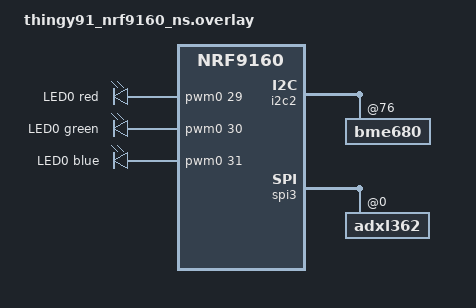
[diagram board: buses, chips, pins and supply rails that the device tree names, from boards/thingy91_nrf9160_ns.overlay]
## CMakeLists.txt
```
#
# Copyright (c) 2021 Nordic Semiconductor ASA
#
# SPDX-License-Identifier: LicenseRef-Nordic-5-Clause
#

cmake_minimum_required(VERSION 3.20.0)

find_package(Zephyr REQUIRED HINTS $ENV{ZEPHYR_BASE})
project(asset_tracker_v2)

# NORDIC SDK APP START
target_sources(app PRIVATE src/main.c)
# NORDIC SDK APP END

# Include source directory
target_include_directories(app PRIVATE src)
target_include_directories(app PRIVATE include/${BOARD}/)
zephyr_include_directories_ifdef(CONFIG_MEMFAULT app PRIVATE configuration/memfault)

# Application directories
add_subdirectory(src/modules)
add_subdirectory(src/events)

add_subdirectory_ifdef(CONFIG_CLOUD_MODULE src/cloud)
add_subdirectory_ifdef(CONFIG_SENSOR_MODULE src/ext_sensors)
add_subdirectory_ifdef(CONFIG_WATCHDOG_APPLICATION src/watchdog)
add_subdirectory_ifdef(CONFIG_LWM2M_CARRIER src/carrier_certs)
```

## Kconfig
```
#
# Copyright (c) 2021 Nordic Semiconductor ASA
#
# SPDX-License-Identifier: LicenseRef-Nordic-5-Clause
#

# Asset Tracker v2 requires UART_INTERRUPT_DRIVEN to be enabled when SERIAL is used in order to
# receive AT Commands.
config UART_INTERRUPT_DRIVEN
	default y if SERIAL

# Asset Tracker v2 requires the default logging mode as LOG_MODE_IMMEDIATE because
# a) LOG_MODE_DEFERRED does not print floating point numbers.
#	 See : https://github.com/zephyrproject-rtos/zephyr/issues/18351
# b) Using LOG2_MODE_DEFERRED results in missing logs in certain situations. Ref: NCSIDB-630
choice LOG_MODE
	default LOG_MODE_IMMEDIATE
endchoice

menu "Asset Tracker v2"

config ASSET_TRACKER_V2_APP_VERSION
	string "Asset Tracker application firmware version"
	default "0.0.0-development"

config ASSET_TRACKER_V2_APP_VERSION_MAX_LEN
	int "Maximum length of the application firmware version"
	default 150

rsource "src/modules/Kconfig.modules_common"
rsource "src/modules/Kconfig.app_module"
rsource "src/modules/Kconfig.cloud_module"
rsource "src/modules/Kconfig.data_module"
rsource "src/modules/Kconfig.gnss_module"
rsource "src/modules/Kconfig.modem_module"
rsource "src/modules/Kconfig.sensor_module"
rsource "src/modules/Kconfig.ui_module"
rsource "src/modules/Kconfig.util_module"
rsource "src/modules/Kconfig.led_module"
rsource "src/modules/Kconfig.debug_module"

rsource "src/cloud/cloud_codec/Kconfig"
rsource "src/watchdog/Kconfig"
rsource "src/events/Kconfig"

endmenu

menu "Zephyr Kernel"
source "Kconfig.zephyr"
endmenu

module = APPLICATION_MODULE
module-str = Application module
source "subsys/logging/Kconfig.template.log_config"
```

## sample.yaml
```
sample:
  name: Asset Tracker v2 Application
common:
  integration_platforms:
    - nrf9160dk_nrf9160_ns
    - thingy91_nrf9160_ns
tests:
  applications.asset_tracker_v2.nrf_cloud:
    build_only: true
    platform_allow: nrf9160dk_nrf9160_ns thingy91_nrf9160_ns
    tags: ci_build
  applications.asset_tracker_v2.nrf_cloud-pgps:
    build_only: true
    platform_allow: nrf9160dk_nrf9160_ns thingy91_nrf9160_ns
    extra_args: OVERLAY_CONFIG=overlay-pgps.conf
    tags: ci_build
  applications.asset_tracker_v2.aws:
    build_only: true
    platform_allow: nrf9160dk_nrf9160_ns thingy91_nrf9160_ns
    extra_configs:
      - CONFIG_AWS_IOT_BROKER_HOST_NAME="example-hostname.aws.com"
    extra_args: OVERLAY_CONFIG="overlay-aws.conf"
    tags: ci_build
  applications.asset_tracker_v2.aws-pgps:
    build_only: true
    platform_allow: nrf9160dk_nrf9160_ns thingy91_nrf9160_ns
    extra_configs:
      - CONFIG_AWS_IOT_BROKER_HOST_NAME="example-hostname.aws.com"
    extra_args: OVERLAY_CONFIG="overlay-aws.conf;overlay-pgps.conf"
    tags: ci_build
  applications.asset_tracker_v2.aws-all:
    build_only: true
    platform_allow: nrf9160dk_nrf9160_ns thingy91_nrf9160_ns
    extra_configs:
      - CONFIG_AWS_IOT_BROKER_HOST_NAME="example-hostname.aws.com"
      - CONFIG_MEMFAULT_NCS_PROJECT_KEY="PROJECTKEY"
    extra_args: OVERLAY_CONFIG="overlay-aws.conf;overlay-pgps.conf;overlay-debug.conf;overlay-memfault.conf"
    tags: ci_build
  applications.asset_tracker_v2.azure:
    build_only: true
    platform_allow: nrf9160dk_nrf9160_ns thingy91_nrf9160_ns
    extra_configs:
      - CONFIG_AZURE_IOT_HUB_DPS_HOSTNAME="global.azure-devices-provisioning.net"
      - CONFIG_AZURE_IOT_HUB_DPS_ID_SCOPE="IDSCOPE"
    extra_args: OVERLAY_CONFIG="overlay-azure.conf"
    tags: ci_build
  applications.asset_tracker_v2.debug:
    build_only: true
    build_on_all: true
    platform_allow: nrf9160dk_nrf9160_ns thingy91_nrf9160_ns
    extra_args: OVERLAY_CONFIG=overlay-debug.conf
    tags: ci_build
  applications.asset_tracker_v2.debug-memfault:
    build_only: true
    build_on_all: true
    platform_allow: nrf9160dk_nrf9160_ns thingy91_nrf9160_ns
    extra_configs:
      - CONFIG_MEMFAULT_NCS_PROJECT_KEY="PROJECTKEY"
    extra_args: OVERLAY_CONFIG="overlay-debug.conf;overlay-memfault.conf"
    tags: ci_build
  applications.asset_tracker_v2.memfault:
    build_only: true
    build_on_all: true
    platform_allow: nrf9160dk_nrf9160_ns thingy91_nrf9160_ns
    extra_configs:
      - CONFIG_MEMFAULT_NCS_PROJECT_KEY="PROJECTKEY"
    extra_args: OVERLAY_CONFIG=overlay-memfault.conf
    tags: ci_build
  applications.asset_tracker_v2.low-power:
    build_only: true
    build_on_all: true
    platform_allow: nrf9160dk_nrf9160_ns thingy91_nrf9160_ns
    extra_args: OVERLAY_CONFIG=overlay-low-power.conf
    tags: ci_build
  applications.asset_tracker_v2.carrier:
    build_only: true
    build_on_all: true
    platform_allow: nrf9160dk_nrf9160_ns thingy91_nrf9160_ns
    extra_args: OVERLAY_CONFIG=overlay-carrier.conf
    tags: ci_build
```

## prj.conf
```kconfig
#
# Copyright (c) 2021 Nordic Semiconductor ASA
#
# SPDX-License-Identifier: LicenseRef-Nordic-5-Clause
#

# General config
CONFIG_NEWLIB_LIBC=y
CONFIG_NEWLIB_LIBC_FLOAT_PRINTF=y
CONFIG_ASSERT=y
CONFIG_REBOOT=y
CONFIG_RESET_ON_FATAL_ERROR=n
CONFIG_FPU=y

# Heap and stacks
CONFIG_HEAP_MEM_POOL_SIZE=32768
CONFIG_MAIN_STACK_SIZE=1280
CONFIG_SYSTEM_WORKQUEUE_STACK_SIZE=4096
CONFIG_HW_STACK_PROTECTION=y
# Increase AT monitor heap size to be able to fit both neighbor cell measurement
# and other AT notifications that may come in rapid succession.
CONFIG_AT_MONITOR_HEAP_SIZE=1024

# Logging
CONFIG_LOG=y

# DK - Used for buttons and LEDs in UI module.
CONFIG_DK_LIBRARY_INVERT_LEDS=n

# nRF modem library
CONFIG_NRF_MODEM_LIB=y

# AT Host library - Used to send AT commands directy from an UART terminal and to allow
#		    integration with nRF Connect for Desktop LTE Link monitor application.
CONFIG_AT_HOST_LIBRARY=y

# Network
CONFIG_NETWORKING=y
CONFIG_NET_NATIVE=n
CONFIG_NET_SOCKETS=y
CONFIG_NET_SOCKETS_OFFLOAD=y

# LTE link control

CONFIG_LTE_LINK_CONTROL=y
CONFIG_LTE_AUTO_INIT_AND_CONNECT=n
CONFIG_LTE_NETWORK_DEFAULT=n
CONFIG_LTE_NETWORK_MODE_NBIOT_GPS=y
CONFIG_LTE_MODE_PREFERENCE_NBIOT=y
CONFIG_LTE_LOCK_PLMN=y
CONFIG_LTE_LOCK_BANDS=y
CONFIG_LTE_LOCK_BAND_MASK="10000000000000000000000100"
CONFIG_LTE_LOCK_PLMN_STRING="74801"
## Power saving timers.
### 320 hours PSM.
CONFIG_LTE_PSM_REQ_RPTAU="11000001"
### 20 seconds active time.
CONFIG_LTE_PSM_REQ_RAT="00001010"

# Modem info library to obtain information about network and device
CONFIG_MODEM_INFO=y

# Settings - Used to store real-time device configuration to flash.
CONFIG_SETTINGS=y
CONFIG_SETTINGS_FCB=y
CONFIG_FCB=y

# FOTA
CONFIG_FOTA_DOWNLOAD=y
CONFIG_DFU_TARGET=y
CONFIG_DOWNLOAD_CLIENT=y
CONFIG_DOWNLOAD_CLIENT_HTTP_FRAG_SIZE_1024=y
CONFIG_DOWNLOAD_CLIENT_STACK_SIZE=4096
CONFIG_DOWNLOAD_CLIENT_BUF_SIZE=2300
CONFIG_DOWNLOAD_CLIENT_MAX_HOSTNAME_SIZE=128

# Flash - Used in FOTA, settings and storage for P-GPS.
CONFIG_FLASH=y
CONFIG_FLASH_PAGE_LAYOUT=y
CONFIG_FLASH_MAP=y
CONFIG_STREAM_FLASH=y
CONFIG_MPU_ALLOW_FLASH_WRITE=y

# MCUBOOT
CONFIG_BOOTLOADER_MCUBOOT=y
CONFIG_IMG_MANAGER=y
CONFIG_MCUBOOT_IMG_MANAGER=y
CONFIG_IMG_ERASE_PROGRESSIVELY=y

# Watchdog
CONFIG_WATCHDOG_APPLICATION=y

# Event Manager
CONFIG_EVENT_MANAGER=y
CONFIG_EVENT_MANAGER_EVENT_LOG_BUF_LEN=0
CONFIG_EVENT_MANAGER_LOG_EVENT_TYPE=n

# cJSON - Used in cloud data encoding.
CONFIG_CJSON_LIB=y

# CAF - Common Application Framework
CONFIG_CAF=y
CONFIG_LED=y
CONFIG_CAF_LEDS=y
CONFIG_CAF_INIT_LOG_LED_READY_EVENTS=n
CONFIG_CAF_INIT_LOG_LED_EVENTS=n
CONFIG_CAF_INIT_LOG_MODULE_STATE_EVENTS=n

# Default cloud transport service
CONFIG_NRF_CLOUD_MQTT=y

# PDN control
CONFIG_PDN_SYS_INIT=n
CONFIG_PDN=y
CONFIG_PDN_DEFAULTS_OVERRIDE=y
CONFIG_PDN_LEGACY_PCO=y
CONFIG_PDN_DEFAULT_FAM_IPV6=y
CONFIG_PDN_DEFAULT_APN="internet.iot"
```

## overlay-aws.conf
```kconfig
#
# Copyright (c) 2021 Nordic Semiconductor ASA
#
# SPDX-License-Identifier: LicenseRef-Nordic-5-Clause
#

CONFIG_AWS_IOT=y
CONFIG_AWS_IOT_TOPIC_UPDATE_DELTA_SUBSCRIBE=y
CONFIG_AWS_IOT_TOPIC_GET_REJECTED_SUBSCRIBE=y
CONFIG_AWS_IOT_AUTO_DEVICE_SHADOW_REQUEST=y
CONFIG_AWS_IOT_MQTT_RX_TX_BUFFER_LEN=2048
CONFIG_AWS_IOT_APP_SUBSCRIPTION_LIST_COUNT=3
CONFIG_AWS_IOT_CLIENT_ID_APP=y
CONFIG_AWS_FOTA=y

# Options that must be configured in order to establish a connection.
CONFIG_AWS_IOT_SEC_TAG=42
CONFIG_AWS_IOT_BROKER_HOST_NAME="a1gs1rvc65ppoo-ats.iot.us-east-1.amazonaws.com"
CONFIG_AWS_IOT_CLIENT_ID_STATIC="352656100586596"
CONFIG_AWS_IOT_CLIENT_ID_MAX_LEN=40
# MQTT Transport library
# Maximum specified MQTT keepalive timeout for AWS IoT is 1200 seconds.
CONFIG_MQTT_KEEPALIVE=1200

# PDN control
CONFIG_PDN_SYS_INIT=n
CONFIG_PDN=y
CONFIG_PDN_DEFAULTS_OVERRIDE=y
CONFIG_PDN_LEGACY_PCO=y
CONFIG_PDN_DEFAULT_FAM_IPV6=y
CONFIG_PDN_DEFAULT_APN="internet.iot"

# LED control
CONFIG_LED=n

CONFIG_CAF_LEDS_PWM=n
CONFIG_CAF_LEDS_GPIO=n
CONFIG_CAF_LED_EVENTS=n
CONFIG_CAF_LEDS=n

CONFIG_LED_CONTROL=n

# SIM control
CONFIG_BOARD_SELECT_SIM_EXTERNAL=y

# Configuration related to external sensors.
CONFIG_EXTERNAL_SENSORS=y
CONFIG_EXTERNAL_SENSORS_LOG_LEVEL_DBG=y
#CONFIG_EXTERNAL_SENSORS_ACTIVITY_DETECTION_AUTO=y
CONFIG_SENSOR=y
CONFIG_I2C=y

# LIS2DH - Accelerometer
CONFIG_LIS2DH=y
CONFIG_LIS2DH_TRIGGER_GLOBAL_THREAD=y
CONFIG_LIS2DH_ACCEL_RANGE_8G=y
CONFIG_LIS2DH_OPER_MODE_NORMAL=y
CONFIG_LIS2DH_ODR_2=y
```

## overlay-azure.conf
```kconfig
#
# Copyright (c) 2021 Nordic Semiconductor ASA
#
# SPDX-License-Identifier: LicenseRef-Nordic-5-Clause
#

CONFIG_AZURE_IOT_HUB=y
CONFIG_AZURE_IOT_HUB_DPS=y
CONFIG_AZURE_IOT_HUB_AUTO_DEVICE_TWIN_REQUEST=y
CONFIG_AZURE_IOT_HUB_DEVICE_ID_APP=y
CONFIG_AZURE_IOT_HUB_MQTT_RX_TX_BUFFER_LEN=2048
CONFIG_AZURE_IOT_HUB_STACK_SIZE=4096
CONFIG_AZURE_FOTA=y
CONFIG_AZURE_FOTA_TLS=y

# Azure IoT Hub options that must be configured in order to establish a connection.
CONFIG_AZURE_IOT_HUB_DPS_HOSTNAME="global.azure-devices-provisioning.net"
CONFIG_AZURE_IOT_HUB_DPS_ID_SCOPE=""
CONFIG_AZURE_IOT_HUB_SEC_TAG=11
CONFIG_AZURE_FOTA_SEC_TAG=11

# MQTT Transport library
# Maximum specified MQTT keepalive timeout for Azure IoT Hub is 1177 seconds.
CONFIG_MQTT_KEEPALIVE=1177
```

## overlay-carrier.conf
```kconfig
#
# Copyright (c) 2021 Nordic Semiconductor ASA
#
# SPDX-License-Identifier: LicenseRef-Nordic-5-Clause
#

CONFIG_LWM2M_CARRIER=y

# LwM2M carrier is only compiled for hard-float
CONFIG_FP_HARDABI=y

# The carrier library initializes the modem library
CONFIG_NRF_MODEM_LIB_SYS_INIT=n

# SMS library
CONFIG_SMS=y

# PDN management support
CONFIG_PDN=y
CONFIG_PDN_CONTEXTS_MAX=3

# AT Monitor is used by PDN library
CONFIG_AT_MONITOR=y

# Download client for DFU
CONFIG_DOWNLOAD_CLIENT_MAX_FILENAME_SIZE=230

# Modem info
CONFIG_MODEM_INFO_BUFFER_SIZE=512

# Disable AT host library as it's incompatible with the carrier library's
# requirement to initialize the modem library
CONFIG_AT_HOST_LIBRARY=n

# Credential management
CONFIG_MODEM_KEY_MGMT=y

# Non-volatile Storage
CONFIG_NVS=y
CONFIG_MPU_ALLOW_FLASH_WRITE=y
```

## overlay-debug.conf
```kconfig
#
# Copyright (c) 2021 Nordic Semiconductor ASA
#
# SPDX-License-Identifier: LicenseRef-Nordic-5-Clause
#

# Forces a maximal log level for all modules.
# Modules saturates their specified level if it is greater than this option,
# otherwise they use the level specified by this option instead of their default
# or whatever was manually set. Levels are:
#
# 0 OFF, logging is turned off
# 1 ERROR, maximal level set to LOG_LEVEL_ERR
# 2 WARNING, maximal level set to LOG_LEVEL_WRN
# 3 INFO, maximal level set to LOG_LEVEL_INFO
# 4 DEBUG, maximal level set to LOG_LEVEL_DBG
CONFIG_LOG_MAX_LEVEL=4

# Module debug configurations.
CONFIG_APPLICATION_MODULE_LOG_LEVEL_DBG=y
CONFIG_CLOUD_MODULE_LOG_LEVEL_DBG=y
CONFIG_DATA_MODULE_LOG_LEVEL_DBG=y
CONFIG_GNSS_MODULE_LOG_LEVEL_DBG=y
CONFIG_MODEM_MODULE_LOG_LEVEL_DBG=y
CONFIG_SENSOR_MODULE_LOG_LEVEL_DBG=y
CONFIG_UI_MODULE_LOG_LEVEL_DBG=y
CONFIG_UTIL_MODULE_LOG_LEVEL_DBG=y
CONFIG_DEBUG_MODULE_LOG_LEVEL_DBG=y

# Cloud integration layer debug logging
CONFIG_CLOUD_INTEGRATION_LOG_LEVEL_DBG=y

# Application Watchdog debug logging
CONFIG_WATCHDOG_LOG_LEVEL_DBG=y

# Cloud codec debug logging
CONFIG_CLOUD_CODEC_LOG_LEVEL_DBG=y

# Date time
CONFIG_DATE_TIME_LOG_LEVEL_DBG=y

# Settings
CONFIG_SETTINGS_LOG_LEVEL_DBG=y

# Flash
CONFIG_STREAM_FLASH_LOG_LEVEL_DBG=y

# Debug module
CONFIG_DEBUG_MODULE=y

# nRF Cloud A/P-GPS
CONFIG_NRF_CLOUD_GPS_LOG_LEVEL_DBG=y
```

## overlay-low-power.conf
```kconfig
#
# Copyright (c) 2021 Nordic Semiconductor ASA
#
# SPDX-License-Identifier: LicenseRef-Nordic-5-Clause
#

# This file contains configurations to achieve the lowest power consumption by
# disabling LEDs and logging over UART.

# Disable serial interface.
CONFIG_SERIAL=n

# Disable LEDs
CONFIG_LED_CONTROL=n

# Disable UART console.
CONFIG_UART_CONSOLE=n

# Disable event logging.
CONFIG_EVENT_MANAGER_SHOW_EVENTS=n

# Disable AT host library.
CONFIG_AT_HOST_LIBRARY=n

# Disable logging
CONFIG_LOG=n
```

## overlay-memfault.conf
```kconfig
#
# Copyright (c) 2021 Nordic Semiconductor ASA
#
# SPDX-License-Identifier: LicenseRef-Nordic-5-Clause
#

CONFIG_MEMFAULT=y
CONFIG_MEMFAULT_NCS_PROJECT_KEY=""
CONFIG_MEMFAULT_NCS_LTE_METRICS=y
CONFIG_MEMFAULT_NCS_STACK_METRICS=y
CONFIG_MEMFAULT_LOGGING_ENABLE=y

CONFIG_MEMFAULT_ROOT_CERT_STORAGE_NRF9160_MODEM=y
CONFIG_MODEM_KEY_MGMT=y

CONFIG_MEMFAULT_NCS_INTERNAL_FLASH_BACKED_COREDUMP=y
CONFIG_MEMFAULT_COREDUMP_COLLECT_BSS_REGIONS=y
CONFIG_PM_PARTITION_SIZE_MEMFAULT_STORAGE=0x10000

# Increase the stack size of the system workqueue in case Memfault is enabled. If the debug module
# is configured to forward Memfault data via an external transport the data will be carried on
# the system workqueue using event manager events.
CONFIG_SYSTEM_WORKQUEUE_STACK_SIZE=3584
CONFIG_DEBUG_MODULE=y
```

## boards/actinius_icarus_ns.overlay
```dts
/*
 * Copyright (c) 2021 Nordic Semiconductor ASA
 *
 * SPDX-License-Identifier: LicenseRef-Nordic-5-Clause
 */

/ {
	aliases {
		accelerometer = &lis2dh12;
	};

};

&i2c2 {

	lis2dh12: lis2dh12-accel@19 {};
};
```

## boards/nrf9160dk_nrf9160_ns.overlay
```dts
/	{
	/delete-node/ leds;

	leds0 {
		compatible = "gpio-leds";
		status = "okay";
		label = "LED0";
		led0: led_0 {
			status = "okay";
			gpios = <&gpio0 2 0>;
			label = "Green LED 1";
		};
	};

	leds1 {
		compatible = "gpio-leds";
		status = "okay";
		label = "LED1";
		led1: led_1 {
			gpios = <&gpio0 3 0>;
			label = "Green LED 2";
		};
	};

	leds2 {
		compatible = "gpio-leds";
		status = "okay";
		label = "LED2";
		led2: led_2 {
			gpios = <&gpio0 4 0>;
			label = "Green LED 3";
		};
	};

	leds3 {
		compatible = "gpio-leds";
		status = "okay";
		label = "LED3";
		led3: led_3 {
			gpios = <&gpio0 5 0>;
			label = "Green LED 4";
		};
	};
};
```

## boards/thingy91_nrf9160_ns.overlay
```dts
/*
 * Copyright (c) 2021 Nordic Semiconductor ASA
 *
 * SPDX-License-Identifier: LicenseRef-Nordic-5-Clause
 */

/ {
	aliases {
		temp-sensor = &bme680;
		humidity-sensor = &bme680;
		pressure-sensor = &bme680;
		accelerometer = &adxl362;
	};
	pwmleds0 {
		compatible = "pwm-leds";
		status = "okay";
		pwm_led0: led_pwm_0 {
			status = "okay";
			pwms = <&pwm0 29>;
			label = "LED0 red";
		};
		pwm_led1: led_pwm_1 {
			status = "okay";
			pwms = <&pwm0 30>;
			label = "LED0 green";
		};
		pwm_led2: led_pwm_2 {
			status = "okay";
			pwms = <&pwm0 31>;
			label = "LED0 blue";
		};
	};
};

&i2c2 {
	bme680: bme680@76 {};
};

&spi3 {
	adxl362: adxl362@0 {};
};
```

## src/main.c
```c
/*
 * Copyright (c) 2021 Nordic Semiconductor ASA
 *
 * SPDX-License-Identifier: LicenseRef-Nordic-5-Clause
 */

#include <zephyr.h>
#include <stdio.h>
#include <string.h>
#include <stdlib.h>
#include <event_manager.h>
#include <modem/nrf_modem_lib.h>
#include <sys/reboot.h>

#if defined(CONFIG_NRF_CLOUD_AGPS) || defined(CONFIG_NRF_CLOUD_PGPS)
#include <net/nrf_cloud_agps.h>
#endif

/* Module name is used by the event manager macros in this file */
#define MODULE main
#include <caf/events/module_state_event.h>

#include "modules_common.h"
#include "events/app_module_event.h"
#include "events/cloud_module_event.h"
#include "events/data_module_event.h"
#include "events/sensor_module_event.h"
#include "events/ui_module_event.h"
#include "events/util_module_event.h"
#include "events/modem_module_event.h"
#include "events/led_state_event.h"

#include <logging/log.h>
#include <logging/log_ctrl.h>

LOG_MODULE_REGISTER(MODULE, CONFIG_APPLICATION_MODULE_LOG_LEVEL);

/* Message structure. Events from other modules are converted to messages
 * in the event manager handler, and then queued up in the message queue
 * for processing in the main thread.
 */
struct app_msg_data
{
	union
	{
		struct cloud_module_event cloud;
		struct ui_module_event ui;
		struct sensor_module_event sensor;
		struct data_module_event data;
		struct util_module_event util;
		struct modem_module_event modem;
		struct app_module_event app;
	} module;
};

/* Application module super states. */
static enum state_type {
	STATE_INIT,
	STATE_RUNNING,
	STATE_SHUTDOWN
} state;

/* Application sub states. The application can be in either active or passive
 * mode.
 *
 * Active mode: Sensor data and GNSS position is acquired at a configured
 *		interval and sent to cloud.
 *
 * Passive mode: Sensor data and GNSS position is acquired when movement is
 *		 detected, or after the configured movement timeout occurs.
 */
static enum sub_state_type {
	SUB_STATE_ACTIVE_MODE,
	SUB_STATE_PASSIVE_MODE,
} sub_state;

/* Internal copy of the device configuration. */
static struct cloud_data_cfg app_cfg;

/* Timer callback used to signal when timeout has occurred both in active
 * and passive mode.
 */
static void data_sample_timer_handler(struct k_timer *timer);

/* Timer callback used to signal when the application is expecting movement to trigger the next
 * sample request.
 */
static void waiting_for_movement_handler(struct k_timer *timer);

/* Application module message queue. */
#define APP_QUEUE_ENTRY_COUNT 10
#define APP_QUEUE_BYTE_ALIGNMENT 4

K_MSGQ_DEFINE(msgq_app, sizeof(struct app_msg_data), APP_QUEUE_ENTRY_COUNT,
			  APP_QUEUE_BYTE_ALIGNMENT);

/* Data sample timer used in active mode. */
K_TIMER_DEFINE(data_sample_timer, data_sample_timer_handler, NULL);

/* Movement timer used to detect movement timeouts in passive mode. */
K_TIMER_DEFINE(movement_timeout_timer, data_sample_timer_handler, NULL);

/* Movement resolution timer decides the period after movement that consecutive
 * movements are ignored and do not cause data collection. This is used to
 * lower power consumption by limiting how often GNSS search is performed and
 * data is sent on air.
 */
K_TIMER_DEFINE(movement_resolution_timer, waiting_for_movement_handler, NULL);

/* Module data structure to hold information of the application module, which
 * opens up for using convenience functions available for modules.
 */
static struct module_data self = {
	.name = "app",
	.msg_q = &msgq_app,
	.supports_shutdown = true,
};

/* Convenience functions used in internal state handling. */
static char *state2str(enum state_type new_state)
{
	switch (new_state)
	{
	case STATE_INIT:
		return "STATE_INIT";
	case STATE_RUNNING:
		return "STATE_RUNNING";
	case STATE_SHUTDOWN:
		return "STATE_SHUTDOWN";
	default:
		return "Unknown";
	}
}

static char *sub_state2str(enum sub_state_type new_state)
{
	switch (new_state)
	{
	case SUB_STATE_ACTIVE_MODE:
		return "SUB_STATE_ACTIVE_MODE";
	case SUB_STATE_PASSIVE_MODE:
		return "SUB_STATE_PASSIVE_MODE";
	default:
		return "Unknown";
	}
}

static void state_set(enum state_type new_state)
{
	if (new_state == state)
	{
		LOG_DBG("State: %s", state2str(state));
		return;
	}

	LOG_DBG("State transition %s --> %s",
			state2str(state),
			state2str(new_state));

	state = new_state;
}

static void sub_state_set(enum sub_state_type new_state)
{
	if (new_state == sub_state)
	{
		LOG_DBG("Sub state: %s", sub_state2str(sub_state));
		return;
	}

	LOG_DBG("Sub state transition %s --> %s",
			sub_state2str(sub_state),
			sub_state2str(new_state));

	sub_state = new_state;
}

/* Check the return code from nRF modem library initializaton to ensure that
 * the modem is rebooted if a modem firmware update is ready to be applied or
 * an error condition occurred during firmware update or library initialization.
 */
static void handle_nrf_modem_lib_init_ret(void)
{
	int ret = nrf_modem_lib_get_init_ret();

	/* Handle return values relating to modem firmware update */
	switch (ret)
	{
	case 0:
		/* Initialization successful, no action required. */
		return;
	case MODEM_DFU_RESULT_OK:
		LOG_INF("MODEM UPDATE OK. Will run new firmware after reboot");
		break;
	case MODEM_DFU_RESULT_UUID_ERROR:
	case MODEM_DFU_RESULT_AUTH_ERROR:
		LOG_ERR("MODEM UPDATE ERROR %d. Will run old firmware", ret);
		break;
	case MODEM_DFU_RESULT_HARDWARE_ERROR:
	case MODEM_DFU_RESULT_INTERNAL_ERROR:
		LOG_ERR("MODEM UPDATE FATAL ERROR %d. Modem failure", ret);
		break;
	default:
		/* All non-zero return codes other than DFU result codes are
		 * considered irrecoverable and a reboot is needed.
		 */
		LOG_ERR("nRF modem lib initialization failed, error: %d", ret);
		break;
	}

	LOG_WRN("Rebooting...");
	LOG_PANIC();
	sys_reboot(SYS_REBOOT_COLD);
}

/* Event manager handler. Puts event data into messages and adds them to the
 * application message queue.
 */
static bool event_handler(const struct event_header *eh)
{
	struct app_msg_data msg = {0};
	bool enqueue_msg = false;

	if (is_cloud_module_event(eh))
	{
		struct cloud_module_event *evt = cast_cloud_module_event(eh);

		msg.module.cloud = *evt;
		enqueue_msg = true;
	}

	if (is_app_module_event(eh))
	{
		struct app_module_event *evt = cast_app_module_event(eh);

		msg.module.app = *evt;
		enqueue_msg = true;
	}

	if (is_data_module_event(eh))
	{
		struct data_module_event *evt = cast_data_module_event(eh);

		msg.module.data = *evt;
		enqueue_msg = true;
	}

	if (is_sensor_module_event(eh))
	{
		struct sensor_module_event *evt = cast_sensor_module_event(eh);

		msg.module.sensor = *evt;
		enqueue_msg = true;
	}

	if (is_util_module_event(eh))
	{
		struct util_module_event *evt = cast_util_module_event(eh);

		msg.module.util = *evt;
		enqueue_msg = true;
	}

	if (is_modem_module_event(eh))
	{
		struct modem_module_event *evt = cast_modem_module_event(eh);

		msg.module.modem = *evt;
		enqueue_msg = true;
	}

	if (is_ui_module_event(eh))
	{
		struct ui_module_event *evt = cast_ui_module_event(eh);

		msg.module.ui = *evt;
		enqueue_msg = true;
	}

	if (enqueue_msg)
	{
		int err = module_enqueue_msg(&self, &msg);

		if (err)
		{
			LOG_ERR("Message could not be enqueued");
			SEND_ERROR(app, APP_EVT_ERROR, err);
		}
	}

	return false;
}

static bool is_agps_processed(void)
{
#if defined(CONFIG_NRF_CLOUD_AGPS) || defined(CONFIG_NRF_CLOUD_PGPS)
	struct nrf_modem_gnss_agps_data_frame processed;

	nrf_cloud_agps_processed(&processed);

	if (!processed.sv_mask_ephe)
	{
		return false;
	}

#endif /* CONFIG_NRF_CLOUD_AGPS || CONFIG_NRF_CLOUD_PGPS */

	return true;
}

static bool request_gnss(void)
{
	uint32_t uptime_current_ms = k_uptime_get();
	int agps_wait_threshold_ms = CONFIG_APP_REQUEST_GNSS_WAIT_FOR_AGPS_THRESHOLD_SEC *
								 MSEC_PER_SEC;

	if (!IS_ENABLED(CONFIG_APP_REQUEST_GNSS_WAIT_FOR_AGPS))
	{
		return true;
	}
	else if (agps_wait_threshold_ms < 0)
	{
		/* If CONFIG_APP_REQUEST_GNSS_WAIT_FOR_AGPS_THRESHOLD_SEC is set to -1,
		 * we need to notify the data module that the application module is awaiting
		 * A-GPS data in order to request GNSS. If not, GNSS will never be
		 * requested if the initial A-GPS data request fails.
		 */
		if (is_agps_processed())
		{
			return true;
		}

		SEND_EVENT(app, APP_EVT_AGPS_NEEDED);
		return false;
	}
	else if ((agps_wait_threshold_ms < uptime_current_ms) || is_agps_processed())
	{
		return true;
	}

	return false;
}

static void data_sample_timer_handler(struct k_timer *timer)
{
	ARG_UNUSED(timer);
	SEND_EVENT(app, APP_EVT_DATA_GET_ALL);
}

static void waiting_for_movement_handler(struct k_timer *timer)
{
	ARG_UNUSED(timer);
	SEND_EVENT(app, APP_EVT_ACTIVITY_DETECTION_ENABLE);
}

/* Static module functions. */
static void passive_mode_timers_start_all(void)
{
	LOG_DBG("Device mode: Passive");
	LOG_DBG("Start movement timeout: %d seconds interval", app_cfg.movement_timeout);

	LOG_DBG("%d seconds until movement can trigger a new data sample/publication",
			app_cfg.movement_resolution);

	k_timer_start(&movement_resolution_timer,
				  K_SECONDS(app_cfg.movement_resolution),
				  K_SECONDS(0));

	k_timer_start(&movement_timeout_timer,
				  K_SECONDS(app_cfg.movement_timeout),
				  K_SECONDS(app_cfg.movement_timeout));

	k_timer_stop(&data_sample_timer);
}

static void active_mode_timers_start_all(void)
{
	LOG_DBG("Device mode: Active");
	LOG_DBG("Start data sample timer: %d seconds interval", app_cfg.active_wait_timeout);

	k_timer_start(&data_sample_timer,
				  K_SECONDS(app_cfg.active_wait_timeout),
				  K_SECONDS(app_cfg.active_wait_timeout));

	k_timer_stop(&movement_resolution_timer);
	k_timer_stop(&movement_timeout_timer);

	SEND_EVENT(app, APP_EVT_ACTIVITY_DETECTION_DISABLE);
	// SEND_EVENT(app, APP_EVT_ACTIVITY_DETECTION_ENABLE);
}

static void data_get(void)
{
	static bool first = true;
	struct app_module_event *app_module_event = new_app_module_event();
	size_t count = 0;

	/* Set a low sample timeout. If GNSS is requested, the sample timeout will be increased to
	 * accommodate the GNSS timeout.
	 */
	app_module_event->timeout = 1;

	/* Specify which data that is to be included in the transmission. */
	app_module_event->data_list[count++] = APP_DATA_MODEM_DYNAMIC;
	app_module_event->data_list[count++] = APP_DATA_BATTERY;
	// app_module_event->data_list[count++] = APP_DATA_ENVIRONMENTAL;
	app_module_event->data_list[count++] = APP_DATA_MOVEMENT;
	// if (IS_ENABLED(CONFIG_APP_REQUEST_NEIGHBOR_CELLS_DATA) && !app_cfg.no_data.neighbor_cell) {
	//	app_module_event->data_list[count++] = APP_DATA_NEIGHBOR_CELLS;
	// }

	/* The reason for having at least 75 seconds sample timeout when
	 * requesting GNSS data is that the GNSS module on the nRF9160 modem will always
	 * search for at least 60 seconds for the first position fix after a reboot. This limit
	 * is enforced in order to give the modem time to perform scheduled downloads of
	 * A-GPS data from the GNSS satellites.
	 *
	 * However, if A-GPS data has been downloaded via the cloud connection and processed
	 * before the initial GNSS search, the actual GNSS timeout set by the application is used.
	 *
	 * Processing A-GPS before requesting GNSS data is enabled by default,
	 * and the time that the application will wait for A-GPS data before including GNSS
	 * in sample requests can be adjusted via the
	 * CONFIG_APP_REQUEST_GNSS_WAIT_FOR_AGPS_THRESHOLD_SEC Kconfig option. If this option is
	 * set to -1, the application module will not request GNSS unless A-GPS data has been
	 * processed.
	 *
	 * If A-GPS data has been processed the sample timeout can be ignored as the
	 * GNSS will most likely time out before the sample timeout expires.
	 *
	 * When GNSS is requested, set the sample timeout to (GNSS timeout + 15 seconds)
	 * to let the GNSS module finish ongoing searches before data is sent to cloud.
	 */

	if (first)
	{
		if (IS_ENABLED(CONFIG_APP_REQUEST_GNSS_ON_INITIAL_SAMPLING) && request_gnss() &&
			!app_cfg.no_data.gnss)
		{
			app_module_event->data_list[count++] = APP_DATA_GNSS;
			app_module_event->timeout = MAX(app_cfg.gnss_timeout + 15, 75);
		}

		app_module_event->data_list[count++] = APP_DATA_MODEM_STATIC;
		first = false;
	}
	else
	{
		if (request_gnss() && !app_cfg.no_data.gnss)
		{
			app_module_event->data_list[count++] = APP_DATA_GNSS;
			app_module_event->timeout = MAX(app_cfg.gnss_timeout + 15, 75);
		}
	}

	/* Set list count to number of data types passed in app_module_event. */
	app_module_event->count = count;
	app_module_event->type = APP_EVT_DATA_GET;

	EVENT_SUBMIT(app_module_event);
}

/* Message handler for STATE_INIT. */
static void on_state_init(struct app_msg_data *msg)
{
	if (IS_EVENT(msg, data, DATA_EVT_CONFIG_INIT))
	{
		/* Keep a copy of the new configuration. */
		app_cfg = msg->module.data.data.cfg;

		if (app_cfg.active_mode)
		{
			active_mode_timers_start_all();
		}
		else
		{
			passive_mode_timers_start_all();
		}

		state_set(STATE_RUNNING);
		sub_state_set(app_cfg.active_mode ? SUB_STATE_ACTIVE_MODE : SUB_STATE_PASSIVE_MODE);
	}
}

/* Message handler for STATE_RUNNING. */
static void on_state_running(struct app_msg_data *msg)
{
	if (IS_EVENT(msg, cloud, CLOUD_EVT_CONNECTED))
	{
		data_get();
	}

	if (IS_EVENT(msg, app, APP_EVT_DATA_GET_ALL))
	{
		data_get();
	}
}

/* Message handler for SUB_STATE_PASSIVE_MODE. */
void on_sub_state_passive(struct app_msg_data *msg)
{
	if (IS_EVENT(msg, data, DATA_EVT_CONFIG_READY))
	{
		/* Keep a copy of the new configuration. */
		app_cfg = msg->module.data.data.cfg;

		if (app_cfg.active_mode)
		{
			active_mode_timers_start_all();
			sub_state_set(SUB_STATE_ACTIVE_MODE);
			return;
		}

		passive_mode_timers_start_all();
	}

	if ((IS_EVENT(msg, ui, UI_EVT_BUTTON_DATA_READY)) ||
		(IS_EVENT(msg, sensor, SENSOR_EVT_MOVEMENT_DATA_READY)))
	{

		if (IS_EVENT(msg, ui, UI_EVT_BUTTON_DATA_READY) &&
			msg->module.ui.data.ui.button_number != 2)
		{
			return;
		}

		/* Trigger a sample request if button 2 has been pushed on the DK or activity has
		 * been detected. The data request can only be triggered if the movement
		 * resolution timer has timed out.
		 */

		if (k_timer_remaining_get(&movement_resolution_timer) == 0)
		{
			data_sample_timer_handler(NULL);
			passive_mode_timers_start_all();
		}
	}
}

/* Message handler for SUB_STATE_ACTIVE_MODE. */
static void on_sub_state_active(struct app_msg_data *msg)
{
	if (IS_EVENT(msg, data, DATA_EVT_CONFIG_READY))
	{
		/* Keep a copy of the new configuration. */
		app_cfg = msg->module.data.data.cfg;

		if (!app_cfg.active_mode)
		{
			passive_mode_timers_start_all();
			sub_state_set(SUB_STATE_PASSIVE_MODE);
			return;
		}

		active_mode_timers_start_all();
	}
}

/* Message handler for all states. */
static void on_all_events(struct app_msg_data *msg)
{
	if (IS_EVENT(msg, util, UTIL_EVT_SHUTDOWN_REQUEST))
	{
		k_timer_stop(&data_sample_timer);
		k_timer_stop(&movement_timeout_timer);
		k_timer_stop(&movement_resolution_timer);

		SEND_SHUTDOWN_ACK(app, APP_EVT_SHUTDOWN_READY, self.id);
		state_set(STATE_SHUTDOWN);
	}
}

void main(void)
{
	int err;
	struct app_msg_data msg;

	if (!IS_ENABLED(CONFIG_LWM2M_CARRIER))
	{
		handle_nrf_modem_lib_init_ret();
	}

	if (event_manager_init())
	{
		/* Without the event manager, the application will not work
		 * as intended. A reboot is required in an attempt to recover.
		 */
		LOG_ERR("Event manager could not be initialized, rebooting...");
		k_sleep(K_SECONDS(5));
		sys_reboot(SYS_REBOOT_COLD);
	}
	else
	{
		module_set_state(MODULE_STATE_READY);
		SEND_EVENT(app, APP_EVT_START);
	}

	self.thread_id = k_current_get();

	err = module_start(&self);
	if (err)
	{
		LOG_ERR("Failed starting module, error: %d", err);
		SEND_ERROR(app, APP_EVT_ERROR, err);
	}

	while (true)
	{
		module_get_next_msg(&self, &msg);

		switch (state)
		{
		case STATE_INIT:
			on_state_init(&msg);
			break;
		case STATE_RUNNING:
			switch (sub_state)
			{
			case SUB_STATE_ACTIVE_MODE:
				on_sub_state_active(&msg);
				break;
			case SUB_STATE_PASSIVE_MODE:
				on_sub_state_passive(&msg);
				break;
			default:
				LOG_WRN("Unknown application sub state");
				break;
			}

			on_state_running(&msg);
			break;
		case STATE_SHUTDOWN:
			/* The shutdown state has no transition. */
			break;
		default:
			LOG_WRN("Unknown application state");
			break;
		}

		on_all_events(&msg);
	}
}

EVENT_LISTENER(MODULE, event_handler);
EVENT_SUBSCRIBE_EARLY(MODULE, cloud_module_event);
EVENT_SUBSCRIBE(MODULE, app_module_event);
EVENT_SUBSCRIBE(MODULE, data_module_event);
EVENT_SUBSCRIBE(MODULE, util_module_event);
EVENT_SUBSCRIBE_FINAL(MODULE, ui_module_event);
EVENT_SUBSCRIBE_FINAL(MODULE, sensor_module_event);
EVENT_SUBSCRIBE_FINAL(MODULE, modem_module_event);
```
